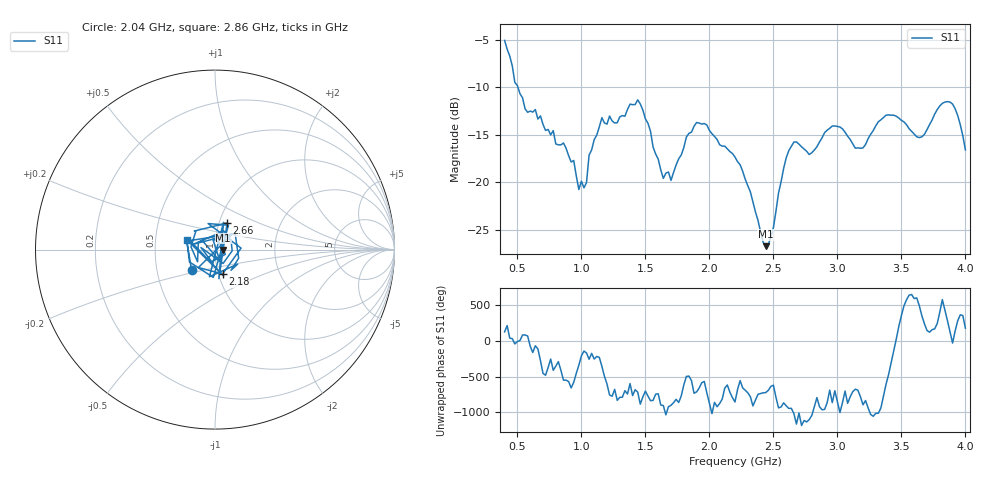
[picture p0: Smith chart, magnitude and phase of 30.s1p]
!Created with skrf (http://scikit-rf.org).
# Hz S RI R 50.0
!freq ReS11 ImS11
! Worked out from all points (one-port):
!   181 points, 400 MHz to 4 GHz, reference 50 ohm
!   lowest |S11| = -26.7 dB at 2.44 GHz (marker M1), VSWR 1.10, Z = 54.8 - j0.144 ohm
!   |S11| at or under -10 dB: 504.5 MHz to end of sweep
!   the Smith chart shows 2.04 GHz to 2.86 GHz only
!   S11 on the Smith chart (normalised r, x): 2.04 GHz: 0.75, -0.18; 2.18 GHz: 1.05, -0.29; 2.66 GHz: 1.09, +0.33; 2.86 GHz: 0.73, +0.08
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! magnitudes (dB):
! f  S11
! 400 MHz  -5.1
! 560 MHz  -12.3
! 860 MHz  -15.8
! 940 MHz  -17.7
! 980 MHz  -20.7
! 1.02 GHz  -20.6
! 1.06 GHz  -17.1
! 1.16 GHz  -13.2
! 1.3 GHz  -13.1
! 1.44 GHz  -11.3
! 1.64 GHz  -19.6
! 1.76 GHz  -17.5
! 1.9 GHz  -13.7
! 2.04 GHz  -15.2
! 2.18 GHz  -17.0
! 2.2 GHz  -17.3
! 2.44 GHz  -26.7
! 2.6 GHz  -17.4
! 2.66 GHz  -15.8
! 2.86 GHz  -15.8
! 2.96 GHz  -14.1
! 3.1 GHz  -15.5
! 3.2 GHz  -16.4
! 3.38 GHz  -12.9
! 3.56 GHz  -14.3
! 3.66 GHz  -15.2
! 3.88 GHz  -11.5
! 4 GHz  -16.6
